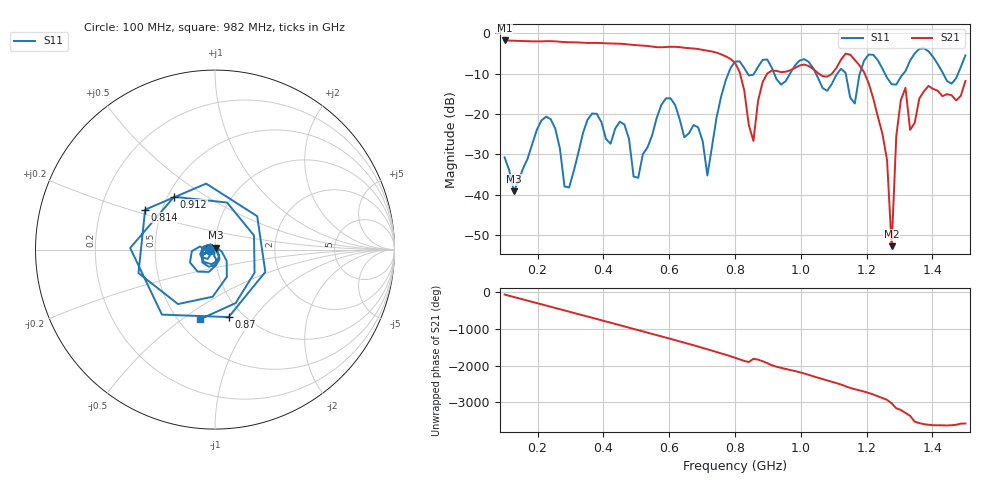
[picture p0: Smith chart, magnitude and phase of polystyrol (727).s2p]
! NanoVNA-App
! Date: 2025-09-25 15:35:32
! Start: 100MHz Stop: 1,5GHz Points: 101
! S-Parameter data: F S11 S21 S12 S22
# Hz S RI R 50
!  Frequency  S11_Real  S11_Imag  S21_Real  S21_Imag  S12_Real  S12_Imag  S22_Real  S22_Imag
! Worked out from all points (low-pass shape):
!   101 points, 100 MHz to 1.5 GHz, reference 50 ohm
!   highest |S21| = -1.80 dB at 100 MHz (marker M1); lowest = -52.7 dB at 1.276 GHz (marker M2)
!   |S21| within 3 dB of the highest: start of sweep to 743.2 MHz
!   lowest |S11| = -39.1 dB at 128 MHz (marker M3), VSWR 1.02, Z = 50.3 + j1.06 ohm
!   |S11| at or under -10 dB: start of sweep to 779.8 MHz; 1.046 GHz to 1.111 GHz (64.92 MHz wide, 6.02 % of centre); 1.256 GHz to 1.312 GHz (56.12 MHz wide, 4.37 % of centre) (the widest 3 of 7)
!   S12 and S22 are empty: the file has one direction only
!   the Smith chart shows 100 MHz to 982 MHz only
!   S11 on the Smith chart (normalised r, x): 100 MHz: 0.94, -0.01; 814 MHz: 0.40, +0.22; 870 MHz: 0.86, -0.76; 912 MHz: 0.54, +0.37; 982 MHz: 0.63, -0.59
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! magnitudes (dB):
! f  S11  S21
! 100 MHz  -30.7  -1.8
! 128 MHz  -39.1  -1.9
! 212 MHz  -21.6  -2.0
! 282 MHz  -37.9  -2.2
! 338 MHz  -24.7  -2.4
! 506 MHz  -35.8  -3.0
! 576 MHz  -17.8  -3.5
! 716 MHz  -35.2  -4.3
! 800 MHz  -7.0  -7.3
! 814 MHz  -7.0  -9.6
! 856 MHz  -10.3  -26.7
! 870 MHz  -8.3  -16.7
! 912 MHz  -8.6  -9.3
! 982 MHz  -8.0  -8.6
! 1.038 GHz  -8.7  -8.9
! 1.192 GHz  -6.8  -9.6
! 1.262 GHz  -11.0  -31.4
! 1.276 GHz  -12.6  -52.7
! 1.29 GHz  -12.7  -25.4
! 1.318 GHz  -9.4  -13.5
! 1.332 GHz  -6.8  -23.9
! 1.5 GHz  -5.5  -11.8
